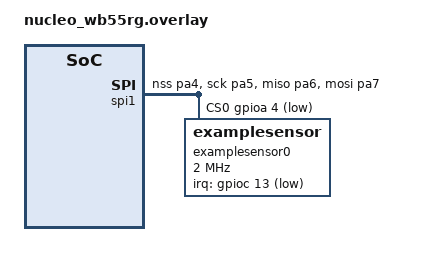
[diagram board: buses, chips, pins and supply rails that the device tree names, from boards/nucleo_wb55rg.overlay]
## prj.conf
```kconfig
# Copyright (c) 2021 Nordic Semiconductor ASA
# SPDX-License-Identifier: Apache-2.0
#
# This file contains selected Kconfig options for the application.


CONFIG_BT=y
CONFIG_BT_PERIPHERAL=y
CONFIG_BT_SMP=y
CONFIG_TINYCRYPT=y
CONFIG_BT_DEVICE_NAME="TIABT"
CONFIG_BT_DIS=y
CONFIG_BT_DIS_PNP=n
CONFIG_BT_BAS=y
CONFIG_BT_DEVICE_APPEARANCE=0
CONFIG_BT_DEBUG_LOG=y
CONFIG_BT_GATT_CLIENT=y


#CONFIG_BT_MESH_ADV_STACK_SIZE=2048
#CONFIG_BT_RX_STACK_SIZE=4096
#CONFIG_MAIN_STACK_SIZE=2048


#CONFIG_SENSOR=y
#CONFIG_SPI_INIT_PRIORITY=70
#CONFIG_ADC_INIT_PRIORITY=71
#CONFIG_SPI=y
#CONFIG_ADC=y



#CONFIG_PRINTK=y
CONFIG_LOG=y
CONFIG_LOG_BUFFER_SIZE=2048

# This causes ***** MPU FAULT ***** when bluetooth is connecting
#CONFIG_LOG_MODE_IMMEDIATE=y 
```

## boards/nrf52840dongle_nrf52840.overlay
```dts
/*
 * Copyright (c) 2021 Nordic Semiconductor ASA
 * SPDX-License-Identifier: Apache-2.0
 */

/* This devicetree overlay file will be automatically picked by the Zephyr
 * build system when building the sample for the nucleo_f302r8 board. It shows
 * how the example-application can be built on sample boards already provided
 * by Zephyr.
 */

/ {
	examplesensor0: examplesensor_0 {
		compatible = "zephyr,examplesensor";
		label = "EXAMPLESENSOR_0";
		input-gpios = <&gpio0 13 (GPIO_PULL_UP | GPIO_ACTIVE_LOW)>;
	};
};

&gpio0 {
	status = "okay";
};
```

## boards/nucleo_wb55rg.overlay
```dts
/*
 * Copyright (c) 2021 Nordic Semiconductor ASA
 * SPDX-License-Identifier: Apache-2.0
 */

/* This devicetree overlay file will be automatically picked by the Zephyr
 * build system when building the sample for the nucleo_f302r8 board. It shows
 * how the example-application can be built on sample boards already provided
 * by Zephyr.
 */

/ {

};

&gpioc {
	status = "okay";
};

// https://os.mbed.com/platforms/ST-Nucleo-WB55RG/
// https://github.com/zephyrproject-rtos/zephyr/blob/main/boards/arm/nucleo_wb55rg/nucleo_wb55rg.dts
// ADC pin CSK ---orange--- (PA5,D13,20,SCK)
// ADC pin SDO ---yellow--- (PA6,D12,21,MISO)
// ADC pin SDI ---green---- (PA7,D11,22,MOSI)
// ADC pin CS  ---white---- (PA4,D10)
// ADC pin INT ---blue----- (PC13,D7)
// https://github.com/zephyrproject-rtos/zephyr-testing/blob/0f09360456592ecf0d0413352dc1ef5d23cd0364/include/drivers/spi.h#L252
// https://github.com/zephyrproject-rtos/zephyr-testing/blob/2fc0ace3c2462cb33dc8c25e33c629cedba08ebb/boards/arm/rm1xx_dvk/rm1xx_dvk.dts#L60
// https://github.com/zephyrproject-rtos/zephyr/blob/ee91cd5665b1590c9a8a9a992bb19d81feeeb461/boards/arm/bt610/bt610.dts#L268


&spi1 {
    status = "okay";
    pinctrl-0 = <&spi1_nss_pa4 &spi1_sck_pa5 &spi1_miso_pa6 &spi1_mosi_pa7>;
    cs-gpios = <&gpioa 4 GPIO_ACTIVE_LOW>;
	examplesensor0: examplesensor@0 {
		compatible = "zephyr,examplesensor";
		spi-max-frequency = <2000000>;
        irq-gpios = <&gpioc 13 GPIO_ACTIVE_LOW>;
		reg = <0>;
	};
};
```

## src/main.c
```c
/*
west build -b nucleo_wb55rg

Booting Zephyr OS build zephyr-v3.1.0-3437-gd9ed09357ee0
Booting Zephyr OS build zephyr-v3.1.0-4550-g2cbd287e0c21 (tried on laptop, bluetooth problems)
Booting Zephyr OS build v3.2.0-rc1-57-gb27c5d73ef09







*** Booting Zephyr OS build v3.2.0-rc1-57-gb27c5d73ef09  ***                              
Bluetooth initialized                                                                       
Advertising successfully started                                                           
[00:00:00.326,000] [0m<inf> main: Zephyr Example Application 1.0.0[0m                     
Connected                                                                               
[00:05:08.462,000] [1;33m<wrn> hci_ipm: Invalid peer addr FF:FF:FF:FF:FF:FF (random)[0m    
[00:05:08.464,000] [1;33m<wrn> bt_hci_core: opcode 0x2016 status 0x3a[0m                  
[00:05:08.464,000] [1;31m<err> bt_hci_core: Failed read remote features (-5)[0m          
[00:05:08.464,000] [1;33m<wrn> bt_hci_core: opcode 0x2032 status 0x0c[0m                     
[00:05:08.464,000] [1;31m<err> bt_hci_core: Failed LE Set PHY (-5)[0m                           
[00:05:15.520,000] [0m<inf> bas: BAS Notifications enabled[0m



*** Booting Zephyr OS build v3.2.0-rc1-57-gb27c5d73ef09  ***
*** Booting Zephyr OS build v3.2.0-rc3-24-g8364715998c9  ***





*/

#include <zephyr/kernel.h>
#include <zephyr/drivers/sensor.h>
#include <zephyr/drivers/spi.h>
#include <stdint.h>

#include "app_version.h"
#include "egadc.h"
#include "bt.h"

#include <zephyr/logging/log.h>
LOG_MODULE_REGISTER(main, CONFIG_APP_LOG_LEVEL);
//struct spi_dt_spec bus = SPI_DT_SPEC_GET(DT_NODELABEL(mcp3204), SPI_WORD_SET(8) | SPI_MODE_GET(0), 1);


struct mcp356x_config c = 
{
	.bus = SPI_DT_SPEC_GET(DT_NODELABEL(examplesensor0), SPI_WORD_SET(8) | SPI_MODE_GET(0), 1),
	.irq = GPIO_DT_SPEC_GET(DT_NODELABEL(examplesensor0), irq_gpios)
};


// The ADC9 uses 2000mV voltage ref chip MCP1501
#define ADC9_VREF 2048
#define TIABT_VREF 3000

void main(void)
{
	LOG_INF("Zephyr Example Application %s", "" DT_NODE_PATH(DT_NODELABEL(examplesensor0)));

	if (!spi_is_ready(&c.bus))
	{
		LOG_ERR("SPI bus is not ready %i", 0);
		return;
	}
	
	
	c.gain = MCP356X_CFG_2_GAIN_X_033;
	c.vref = TIABT_VREF;
	egadc_init(&c);
	//mybt_init();

	//while (1){k_sleep(K_MSEC(5000));}

	while (1)
	{
		//printk("%08X\n", c.lastdata);
		
		
		printk("%8i\n", c.num_irq - c.num_drdy);
		printk("%8i %8i " MCP356X_PRINTF_HEADER "\n", c.num_irq, c.num_drdy);
		printk("avg               " MCP356X_PRINTF_PLUS "\n", MCP356X_ARGS(c.avg));
		printk("mv                " MCP356X_PRINTF_PLUS "\n", MCP356X_ARGS(c.mv));
		printk("n                 " MCP356X_PRINTF_PLUS "\n", MCP356X_ARGS(c.n));
		
		
		//mybt_progress();
		//bt_bas_set_battery_level(i++);

		//k_sem_give(&c.acq_sem);
		k_sleep(K_MSEC(5000));
	}
}
```

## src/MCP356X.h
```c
#pragma once
#include <stdint.h>

// https://github.com/MikroElektronika/mikrosdk_click_v2
// https://github.com/MikroElektronika/mikrosdk_click_v2/tree/master/clicks/adc9
// https://github.com/jspark311/MCP356x-Breakout/blob/6cc57254ad991eba59b2607941b86dc148f06eaf/Arduino/src/MCP356x.cpp






/*****************************************************************
6.2.1 COMMAND BYTE STRUCTURE
The COMMAND byte fully defines the command that
will be executed by the part. This byte is divided into
three parts: the device address bits (CMD[7:6]), the
command address bits (CMD[5:2]) and the
command-type bits (CMD[1:0]).
*****************************************************************/
#define MCP356X_COMMAND_BYTE(addr, cmd, type) (((addr)<<6) | ((cmd)<<2) | ((type)<<0))

/*****************************************************************
6.2.2 DEVICE ADDRESS BITS (CMD[7:6])
The SPI interface of the MCP3561/2/4 devices is
addressable, which means that multiple devices can
communicate on the same SPI bus with only one Chip
Select line for all devices. Each device communication
starts by a CS falling edge, followed by the clocking of
the device address (CMD[7:6]). Each device contains
an internal device address which the device can
respond to.
This address is coded on two bits, so four possible
addresses are available. Device address is hard-coded
within the device and should be determined when
ordering the device. The device address is part of the
device markings to avoid potential confusion (see
Sections 9.1 “Package Marking Information(1)”).
When the CMD[7:6] bits match the device address, the
communication will proceed and the part will execute
the commands defined in the control byte and its
subsequent data bytes.
When the CMD[7:6] bits do not correspond to the
address hard-coded in the device, the command is
ignored. In this case, the SDO output will become
high-impedance, which prevents bus contention errors
when multiple devices are connected on the same SPI
bus (see Figure 6-2). The user has to exit from this
communication through a CS rising edge to be able to
launch another command.
*****************************************************************/
#define MCP356X_DEVICE_ADR                   0x01 // CMD[7:6]

/*****************************************************************
6.2.4 COMMAND-TYPE BITS (CMD[1:0])
The last two bits of the COMMAND register byte define
the command type. These bits are an extension of the
typical read/write bits present in most SPI communica-
tion protocols. The two bits define four possible
command types: Incremental Write, Incremental Read,
Static Read and Fast command. Changing the com-
mand type within the same communication (while CS is
logic low) is not possible. The communication has to be
stopped (CS rising edge) and restarted (CS falling
edge) to change its command type.
*****************************************************************/
#define MCP356X_CMD_DONT_CARE                0x00
#define MCP356X_CMD_STAT_READ                0x01
#define MCP356X_CMD_INC_WRITE                0x02
#define MCP356X_CMD_INC_READ                 0x03

/*****************************************************************
8.0 INTERNAL REGISTERS
The MCP3561/2/4 devices have a total of 16 internal
registers made of volatile memory.
*****************************************************************/

/*
8.1 ADCDATA Register
The data can be
formatted in 24/32-bit modes depending on the DATA_FORMAT
*/
#define MCP356X_REG_ADC_DATA                 0x00 // 4/24/32 R
#define MCP356X_REG_CFG_0                    0x01 // 8       RW
#define MCP356X_REG_CFG_1                    0x02 // 8       RW
#define MCP356X_REG_CFG_2                    0x03 // 8       RW
#define MCP356X_REG_CFG_3                    0x04 // 8       RW
#define MCP356X_REG_IRQ                      0x05 // 8       RW
#define MCP356X_REG_MUX                      0x06 // 8       RW
#define MCP356X_REG_SCAN                     0x07 // 24      RW
#define MCP356X_REG_TIMER                    0x08 // 24      RW
#define MCP356X_REG_OFFSET_CAL               0x09 // 24      RW
#define MCP356X_REG_GAIN_CAL                 0x0A // 24      RW
#define MCP356X_RSV_REG_W_A                  0x0B // 24      RW
#define MCP356X_REG_C                        0x0C // 8       RW
#define MCP356X_REG_LOCK                     0x0D // 8       RW
#define MCP356X_RSV_REG                      0x0E // 16      RW
#define MCP356X_REG_CRC_CFG                  0x0F // 16      R

static char const * MCP356X_REG_tostring(int a)
{
	switch(a)
	{
	case MCP356X_REG_ADC_DATA    : return "MCP356X_REG_ADC_DATA    ";
	case MCP356X_REG_CFG_0       : return "MCP356X_REG_CFG_0       ";
	case MCP356X_REG_CFG_1       : return "MCP356X_REG_CFG_1       ";
	case MCP356X_REG_CFG_2       : return "MCP356X_REG_CFG_2       ";
	case MCP356X_REG_CFG_3       : return "MCP356X_REG_CFG_3       ";
	case MCP356X_REG_IRQ         : return "MCP356X_REG_IRQ         ";
	case MCP356X_REG_MUX         : return "MCP356X_REG_MUX         ";
	case MCP356X_REG_SCAN        : return "MCP356X_REG_SCAN        ";
	case MCP356X_REG_TIMER       : return "MCP356X_REG_TIMER       ";
	case MCP356X_REG_OFFSET_CAL  : return "MCP356X_REG_OFFSET_CAL  ";
	case MCP356X_REG_GAIN_CAL    : return "MCP356X_REG_GAIN_CAL    ";
	case MCP356X_RSV_REG_W_A     : return "MCP356X_RSV_REG_W_A     ";
	case MCP356X_REG_LOCK        : return "MCP356X_REG_LOCK        ";
	case MCP356X_RSV_REG         : return "MCP356X_RSV_REG         ";
	case MCP356X_REG_CRC_CFG     : return "MCP356X_REG_CRC_CFG     ";
	default:return "";
	}
}




/*****************************************************************
8.2 CONFIG0 Register
ADC Operating mode, Master Clock mode and Input Bias Current
Source mode
******************************************************************/
// Full Shutdown Mode Enable
#define MCP356X_CFG_0_VREF_SEL_0             0x00
#define MCP356X_CFG_0_VREF_SEL_1             0x40
#define MCP356X_CFG_0_VREF_SEL_2             0x80
#define MCP356X_CFG_0_VREF_SEL_3             0xC0
// Clock Selection
#define MCP356X_CFG_0_CLK_SEL_0              0x00
#define MCP356X_CFG_0_CLK_SEL_1              0x10
#define MCP356X_CFG_0_CLK_SEL_2              0x20
#define MCP356X_CFG_0_CLK_SEL_3              0x30
// Current Source/Sink Selection Bits for Sensor Bias (source on VIN+/sink on VIN-)
#define MCP356X_CFG_0_CS_SEL_0               0x00
#define MCP356X_CFG_0_CS_SEL_1               0x04
#define MCP356X_CFG_0_CS_SEL_2               0x08
#define MCP356X_CFG_0_CS_SEL_3               0x0C
// ADC Operating Mode Selection
#define MCP356X_CFG_0_MODE_SHD_DEF           0x00
#define MCP356X_CFG_0_MODE_SHD               0x01
#define MCP356X_CFG_0_MODE_STANDBY           0x02
#define MCP356X_CFG_0_MODE_CONV              0x03




/******************************************************************
8.3 CONFIG1 Register
Prescale and OSR settings
******************************************************************/
// Prescaler Value Selection for AMCLK
#define MCP356X_CFG_1_PRE_1                  0x00
#define MCP356X_CFG_1_PRE_2                  0x40
#define MCP356X_CFG_1_PRE_4                  0x80
#define MCP356X_CFG_1_PRE_8                  0xC0
// Oversampling Ratio for Delta-Sigma A/D Conversion
#define MCP356X_CFG_1_OSR_98304              0x3C
#define MCP356X_CFG_1_OSR_81920              0x38
#define MCP356X_CFG_1_OSR_49152              0x34
#define MCP356X_CFG_1_OSR_40960              0x30
#define MCP356X_CFG_1_OSR_24576              0x2C
#define MCP356X_CFG_1_OSR_20480              0x28
#define MCP356X_CFG_1_OSR_16384              0x24
#define MCP356X_CFG_1_OSR_8192               0x20
#define MCP356X_CFG_1_OSR_4096               0x1C
#define MCP356X_CFG_1_OSR_2048               0x18
#define MCP356X_CFG_1_OSR_1024               0x14
#define MCP356X_CFG_1_OSR_512                0x10
#define MCP356X_CFG_1_OSR_256                0x0C
#define MCP356X_CFG_1_OSR_128                0x08
#define MCP356X_CFG_1_OSR_64                 0x04
#define MCP356X_CFG_1_OSR_32                 0x00
// RESERVED[1:0]: Should always be set to ‘00’
#define MCP356X_CFG_1_DITHER_MAX             0x03
#define MCP356X_CFG_1_DITHER_MED             0x02
#define MCP356X_CFG_1_DITHER_MIN             0x01
#define MCP356X_CFG_1_DITHER_DEF             0x00





/******************************************************************
8.4 CONFIG2 Register
ADC boost and gain settings, auto-zeroing settings for analog
multiplexer, voltage reference and ADC
******************************************************************/
// ADC Bias Current Selection
#define MCP356X_CFG_2_BOOST_X_2              0xC0
#define MCP356X_CFG_2_BOOST_X_1              0x80
#define MCP356X_CFG_2_BOOST_X_066            0x40
#define MCP356X_CFG_2_BOOST_X_05             0x00
/*
5.3.1
ANALOG GAIN
The gain settings from 0.33x to 16x are done in the
analog domain. This analog gain is placed on each ADC
differential input. Each doubling of the gain improves the
thermal noise due to sampling by approximately 3 dB,
which means the lowest noise configuration is obtained
when using the highest analog gain. The SNR, however,
is degraded, since doubling the gain factor reduces the
maximum allowable input signal amplitude by
approximately 6 dB.
If the gain is set to 0.33x, the differential input range
theoretically becomes ±3 * VREF. However, the device
does not support input voltages outside of the power
supply voltage range. If large reference voltages are
used with this gain, the input voltage range will be
clipped between AGND and AVDD, and therefore, the
output code span will be limited. This gain is useful
when the reference voltage is small and when the
input signal voltage is large.
The analog gain stage can be used to amplify very low
signals, but the differential input range of the
Delta-Sigma modulator must not be exceeded.
*/
#define MCP356X_CFG_2_GAIN_X_64              0x38
#define MCP356X_CFG_2_GAIN_X_32              0x30
#define MCP356X_CFG_2_GAIN_X_16              0x28
#define MCP356X_CFG_2_GAIN_X_8               0x20
#define MCP356X_CFG_2_GAIN_X_4               0x18
#define MCP356X_CFG_2_GAIN_X_2               0x10
#define MCP356X_CFG_2_GAIN_X_1               0x08
#define MCP356X_CFG_2_GAIN_X_033             0x00
// Auto-Zeroing MUX Setting
#define MCP356X_CFG_2_AZ_MUX_EN              0x04
#define MCP356X_CFG_2_AZ_MUX_DIS             0x00
#define MCP356X_CFG_2_AZ_VREF_EN             0x02
#define MCP356X_CFG_2_AZ_VREF_DIS            0x00
// RESERVED[1:0]: Should always be equal to ‘11’
#define MCP356X_CFG_2_AZ_FREQ_HIGH           0x01
#define MCP356X_CFG_2_AZ_FREQ_LOW            0x00




/******************************************************************
8.5 CONFIG3 Register
Conversion mode, data and CRC format settings; enable for CRC on
communications, enable for digital offset and gain error calibrations
*******************************************************************/
// Conversion Mode Selection
#define MCP356X_CFG_3_CONV_MODE_CONT         0xC0
#define MCP356X_CFG_3_CONV_MODE_STANDBY      0x80
#define MCP356X_CFG_3_CONV_MODE_SHD          0x40
#define MCP356X_CFG_3_CONV_MODE_SHD0         0x00

// ADC Output Data Format Selection

// 32-bit (25-bit right justified data + Channel ID): CHID[3:0] + SGN extension (4 bits) + 24-bit ADC data. 
// It allows overrange with the SGN extension.
#define MCP356X_CFG_3_DATA_FORMAT_CH_ADC     0x30
// 32-bit (25-bit right justified data): SGN extension (8-bit) + 24-bit ADC data. It allows overrange with the SGN extension.
#define MCP356X_CFG_3_DATA_FORMAT_SIGN_ADC   0x20
// 32-bit (24-bit left justified data): 24-bit ADC data + 0x00 (8-bit). It does not allow overrange (ADC code locked to 0xFFFFFF or 0x800000).
#define MCP356X_CFG_3_DATA_FORMAT_LEFT_JUST  0x10
//24-bit (default ADC coding): 24-bit ADC data. It does not allow overrange (ADC code locked to 0xFFFFFF or 0x800000).
#define MCP356X_CFG_3_DATA_FORMAT_DEF        0x00

// CRC Checksum Format Selection on Read Communications
#define MCP356X_CFG_3_CRC_FORMAT_32          0x08
#define MCP356X_CFG_3_CRC_FORMAT_16          0x00
// CRC Checksum Selection on Read Communications (it does not affect CRCCFG calculations)
#define MCP356X_CFG_3_CRC_COM_EN             0x04
#define MCP356X_CFG_3_CRC_COM_DIS            0x00
// Enable Digital Offset Calibration
#define MCP356X_CFG_3_CRC_OFF_CAL_EN         0x02
#define MCP356X_CFG_3_CRC_OFF_CAL_DIS        0x00
// Enable Digital Gain Calibration
#define MCP356X_CFG_3_CRC_GAIN_CAL_EN        0x01
#define MCP356X_CFG_3_CRC_GAIN_CAL_DIS       0x00



/*******************************************************************
8.6 IRQ Register
IRQ Status bits and IRQ mode settings; enable for Fast commands and
for conversion start pulse
*******************************************************************/
#define MCP356X_IRQ_MODE_MDAT                0x08
#define MCP356X_IRQ_MODE_IRQ                 0x00
#define MCP356X_IRQ_MODE_LOGIC_HIGH          0x04
#define MCP356X_IRQ_MODE_HIGH_Z              0x00
#define MCP356X_IRQ_FASTCMD_EN               0x02
#define MCP356X_IRQ_FASTCMD_DIS              0x00
#define MCP356X_IRQ_STP_EN                   0x01
#define MCP356X_IRQ_STP_DIS                  0x00





/*******************************************************************
8.7 MULTIPLEXER (MUX) REGISTER
Analog multiplexer input selection (MUX mode only)
*******************************************************************/
// Bit 7-4 MUX_VIN+ Input Selection
#define MCP356X_MUX_VIN_POS_NO_IN            0xF0 // 1111 0000 Internal VCM
#define MCP356X_MUX_VIN_POS_VCM              0xE0 // 1110 0000 Internal Temperature Sensor Diode M (Temp Diode M)(1)
#define MCP356X_MUX_VIN_POS_TEMP             0xD0 // 1101 0000 Internal Temperature Sensor Diode P (Temp Diode P)(1)
#define MCP356X_MUX_VIN_POS_VREF_EXT_MINUS   0xC0 // 1100 0000
#define MCP356X_MUX_VIN_POS_VREF_EXT_PLUS    0xB0 // 1011 0000
#define MCP356X_MUX_VIN_POS_VREF_INT         0xA0 // 1010 0000 Reserved (do not use)
#define MCP356X_MUX_VIN_POS_AVDD             0x90 // 1001 0000
#define MCP356X_MUX_VIN_POS_AGND             0x80 // 1000 0000
#define MCP356X_MUX_VIN_POS_CH7              0x70 // 0111 0000
#define MCP356X_MUX_VIN_POS_CH6              0x60 // 0110 0000
#define MCP356X_MUX_VIN_POS_CH5              0x50 // 0101 0000
#define MCP356X_MUX_VIN_POS_CH4              0x40 // 0100 0000
#define MCP356X_MUX_VIN_POS_CH3              0x30 // 0011 0000
#define MCP356X_MUX_VIN_POS_CH2              0x20 // 0010 0000
#define MCP356X_MUX_VIN_POS_CH1              0x10 // 0001 0000
#define MCP356X_MUX_VIN_POS_CH0              0x00 // 0000 0000
// Bit 3-0 MUX_VIN- Input Selection
#define MCP356X_MUX_VIN_NEG_NO_IN            0x0F // 0000 1111
#define MCP356X_MUX_VIN_NEG_VCM              0x0E // 0000 1110 Internal Temperature Sensor Diode M (Temp Diode M)(1)
#define MCP356X_MUX_VIN_NEG_TEMP             0x0D // 0000 1101 Internal Temperature Sensor Diode P (Temp Diode P)(1)
#define MCP356X_MUX_VIN_NEG_VREF_EXT_MINUS   0x0C // 0000 1100
#define MCP356X_MUX_VIN_NEG_VREF_EXT_PLUS    0x0B // 0000 1011
#define MCP356X_MUX_VIN_NEG_VREF_INT         0x0A // 0000 1010 Reserved (do not use)
#define MCP356X_MUX_VIN_NEG_AVDD             0x09 // 0000 1001
#define MCP356X_MUX_VIN_NEG_AGND             0x08 // 0000 1000
#define MCP356X_MUX_VIN_NEG_CH7              0x07 // 0000 0111
#define MCP356X_MUX_VIN_NEG_CH6              0x06 // 0000 0110
#define MCP356X_MUX_VIN_NEG_CH5              0x05 // 0000 0101
#define MCP356X_MUX_VIN_NEG_CH4              0x04 // 0000 0100
#define MCP356X_MUX_VIN_NEG_CH3              0x03 // 0000 0011
#define MCP356X_MUX_VIN_NEG_CH2              0x02 // 0000 0010
#define MCP356X_MUX_VIN_NEG_CH1              0x01 // 0000 0001
#define MCP356X_MUX_VIN_NEG_CH0              0x00 // 0000 0000




/* 8.8 SCAN Register
Bit 23-21 DLY[2:0]: Delay Time (TDLY_SCAN) Between Each Conversion During a Scan Cycle

When in SCAN mode, the MUX register (address: 0x6)
becomes a Don’t Care register.

When SCAN[15:0] = 0x0000, SCAN mode is dis-
abled and the part returns to MUX mode, where the
input channel selection is defined by the MUX[7:0] bits.
*/
#define MCP356X_SCAN_DLY_DM_CLK_X_512        0x00E00000
#define MCP356X_SCAN_DLY_DM_CLK_X_256        0x00C00000
#define MCP356X_SCAN_DLY_DM_CLK_X_128        0x00A00000
#define MCP356X_SCAN_DLY_DM_CLK_X_64         0x00800000
#define MCP356X_SCAN_DLY_DM_CLK_X_32         0x00600000
#define MCP356X_SCAN_DLY_DM_CLK_X_16         0x00400000
#define MCP356X_SCAN_DLY_DM_CLK_X_8          0x00200000
#define MCP356X_SCAN_DLY_NO_DELAY            0x00000000
//Bit 19-16 Unimplemented: Read as ‘0’
#define MCP356X_SCAN_PSAV_VREF_OFF           0x00100000
#define MCP356X_SCAN_PSAV_VREF_ON            0x00000000
// Bit 15-0 Scan Channel Selection (see Table 5-14 for a complete description)
#define MCP356X_SCAN_OFFSET                  0x00008000
#define MCP356X_SCAN_VREF                    0x00004000
#define MCP356X_SCAN_AVDD                    0x00002000
#define MCP356X_SCAN_TEMP                    0x00001000
#define MCP356X_SCAN_DIFF_D                  0x00000800
#define MCP356X_SCAN_DIFF_C                  0x00000400
#define MCP356X_SCAN_DIFF_B                  0x00000200
#define MCP356X_SCAN_DIFF_A                  0x00000100
#define MCP356X_SCAN_CH7                     0x00000080
#define MCP356X_SCAN_CH6                     0x00000040
#define MCP356X_SCAN_CH5                     0x00000020
#define MCP356X_SCAN_CH4                     0x00000010
#define MCP356X_SCAN_CH3                     0x00000008
#define MCP356X_SCAN_CH2                     0x00000004
#define MCP356X_SCAN_CH1                     0x00000002
#define MCP356X_SCAN_CH0                     0x00000001

#define MCP356X_CHANNEL_COUNT 16
#define MCP356X_CH_OFFSET   15
#define MCP356X_CH_VREF     14
#define MCP356X_CH_AVDD     13
#define MCP356X_CH_TEMP     12
#define MCP356X_CH_DIFF_D   11
#define MCP356X_CH_DIFF_C   10
#define MCP356X_CH_DIFF_B   9
#define MCP356X_CH_DIFF_A   8
#define MCP356X_CH_CH7      7
#define MCP356X_CH_CH6      6
#define MCP356X_CH_CH5      5
#define MCP356X_CH_CH4      4
#define MCP356X_CH_CH3      3
#define MCP356X_CH_CH2      2
#define MCP356X_CH_CH1      1
#define MCP356X_CH_CH0      0



// 8.9 TIMER Register
#define MCP356X_TIMER_DLY_DMCLK_X_16777215   0x00FFFFFF
#define MCP356X_TIMER_DLY_DMCLK_X_8388607    0x007FFFFF
#define MCP356X_TIMER_DLY_DMCLK_X_4194303    0x003FFFFF
#define MCP356X_TIMER_DLY_DMCLK_X_2097151    0x001FFFFF
#define MCP356X_TIMER_DLY_DMCLK_X_1048575    0x000FFFFF
#define MCP356X_TIMER_DLY_DMCLK_X_524287     0x0007FFFF
#define MCP356X_TIMER_DLY_DMCLK_X_262143     0x0003FFFF
#define MCP356X_TIMER_DLY_DMCLK_X_131071     0x0001FFFF
#define MCP356X_TIMER_DLY_DMCLK_X_65535      0x0000FFFF
#define MCP356X_TIMER_DLY_DMCLK_X_32767      0x00007FFF
#define MCP356X_TIMER_DLY_DMCLK_X_16383      0x00003FFF
#define MCP356X_TIMER_DLY_DMCLK_X_8191       0x00001FFF
#define MCP356X_TIMER_DLY_DMCLK_X_4095       0x00000FFF
#define MCP356X_TIMER_DLY_DMCLK_X_2047       0x000007FF
#define MCP356X_TIMER_DLY_DMCLK_X_1023       0x000003FF
#define MCP356X_TIMER_DLY_DMCLK_X_511        0x000001FF
#define MCP356X_TIMER_DLY_DMCLK_X_255        0x000000FF
#define MCP356X_TIMER_DLY_DMCLK_X_127        0x0000007F
#define MCP356X_TIMER_DLY_DMCLK_X_63         0x0000003F
#define MCP356X_TIMER_DLY_DMCLK_X_31         0x0000001F
#define MCP356X_TIMER_DLY_DMCLK_X_15         0x0000000F
#define MCP356X_TIMER_DLY_DMCLK_X_2          0x00000002
#define MCP356X_TIMER_DLY_DMCLK_X_1          0x00000001
#define MCP356X_TIMER_DLY_NO_DELAY           0x00000000

#define MCP356X_FAST_CMD_ADC_CONV_START      0x28
#define MCP356X_FAST_CMD_ADC_STANDBY_MODE    0x2C
#define MCP356X_FAST_CMD_ADC_SHUTDOWN_MODE   0x30
#define MCP356X_FAST_CMD_FULL_SHUTDOWN_MODE  0x34
#define MCP356X_FAST_CMD_DEV_FULL_RESET      0x38

#define MCP356X_CALC_COEF                    8388608


#define MCP356X_PRINTF_HEADER "OFFST VREF  AVDD  TEMP  DIFFD DIFFC DIFFB DIFFA CH7   CH6   CH5   CH4   CH3   CH2   CH1   CH0"
#define MCP356X_PRINTF_PLUS   "%+05i %+05i %+05i %+05i %+05i %+05i %+05i %+05i %+05i %+05i %+05i %+05i %+05i %+05i %+05i %+05i"
#define MCP356X_PRINTF "%05i %05i %05i %05i %05i %05i %05i %05i %05i %05i %05i %05i %05i %05i %05i %05i"
#define MCP356X_ARGS(x) \
(x)[MCP356X_CH_OFFSET],  \
(x)[MCP356X_CH_VREF],  \
(x)[MCP356X_CH_AVDD],  \
(x)[MCP356X_CH_TEMP],  \
(x)[MCP356X_CH_DIFF_D],  \
(x)[MCP356X_CH_DIFF_C],  \
(x)[MCP356X_CH_DIFF_B],  \
(x)[MCP356X_CH_DIFF_A],  \
(x)[MCP356X_CH_CH7],  \
(x)[MCP356X_CH_CH6],  \
(x)[MCP356X_CH_CH5],  \
(x)[MCP356X_CH_CH4],  \
(x)[MCP356X_CH_CH3],  \
(x)[MCP356X_CH_CH2],  \
(x)[MCP356X_CH_CH1],  \
(x)[MCP356X_CH_CH0]

/*
111 = Gain is x64 (x16 analog, x4 digital)
110 = Gain is x32 (x16 analog, x2 digital)
101 = Gain is x16
100 = Gain is x8
011 = Gain is x4
010 = Gain is x2
001 = Gain is x1 (default)
000 = Gain is x1/3
*/

static int32_t MCP356X_raw_to_millivolt(int32_t raw, int32_t vref, int32_t gain)
{
	int32_t c = (MCP356X_CALC_COEF / vref);
	switch(gain)
	{
	case MCP356X_CFG_2_GAIN_X_64  : c *= 64; break;
	case MCP356X_CFG_2_GAIN_X_32  : c *= 32; break;
	case MCP356X_CFG_2_GAIN_X_16  : c *= 16; break;
	case MCP356X_CFG_2_GAIN_X_8   : c *= 8; break;
	case MCP356X_CFG_2_GAIN_X_4   : c *= 4; break;
	case MCP356X_CFG_2_GAIN_X_2   : c *= 2; break;
	case MCP356X_CFG_2_GAIN_X_1   : c *= 1; break;
	case MCP356X_CFG_2_GAIN_X_033 : c /= 3; break;
	}
	int32_t mv;
	mv = raw / c;
	return mv;
}


static void MCP356X_ADC_DATA_decode_11(uint8_t rx[5], int32_t * value, uint32_t * channel)
{
	/*
	In MUX mode, this 4-bit word
	is defaulted to ‘0000’ and does not vary with the
	MUX[7:0] selection. This format is useful for 32-bit
	MCU applications
	*/
	(*channel) = (rx[1] >> 4) & 0x01;

	uint8_t sign = rx[1] & 0x01;
	(*value) = (rx[2] << 16) | (rx[3] << 8) | (rx[4] << 0);
	if (sign != 0)
	{
		(*value) -= 16777215;
	}
}




static uint32_t MCP356X_get_len(uint8_t reg)
{
	switch(reg)
	{
	case MCP356X_REG_ADC_DATA:
		return 4; // 32 bit
	case MCP356X_REG_CFG_0:
	case MCP356X_REG_CFG_1:
	case MCP356X_REG_CFG_2:
	case MCP356X_REG_CFG_3:
	case MCP356X_REG_IRQ:
	case MCP356X_REG_MUX:
		return 1; // 8 bit
	case MCP356X_REG_SCAN:
	case MCP356X_REG_TIMER:
	case MCP356X_REG_OFFSET_CAL:
	case MCP356X_REG_GAIN_CAL:
	case MCP356X_RSV_REG_W_A:
		return 3; // 24 bit
	case MCP356X_REG_C:
	case MCP356X_REG_LOCK:
		return 1; // 8 bit
	case MCP356X_RSV_REG:
	case MCP356X_REG_CRC_CFG:
		return 2; // 16 bit
	default:
		return 0;
		break;
	}
}


static uint32_t MCP356X_get_value(uint8_t rx[5], uint8_t len)
{
	switch (len)
	{
	case 1: return (rx[1] << 0);
	case 2: return (rx[1] << 8) | (rx[2] << 0);
	case 3: return (rx[1] << 16) | (rx[2] << 8) | (rx[3] << 0);
	case 4: return (rx[1] << 24) | (rx[2] << 16) | (rx[3] << 8) | (rx[4] << 0);
	default: return 0;
	}
}


static void MCP356X_set_value(uint8_t tx[5], uint8_t len, uint32_t value)
{
	switch (len)
	{
	case 1:
		tx[1] = ( value >> 0 ) & 0xFF;
		break;
	case 2:
		tx[1] = ( value >> 8 ) & 0xFF;
		tx[2] = ( value >> 0 ) & 0xFF;
		break;
	case 3:
		tx[1] = ( value >> 16 ) & 0xFF;
		tx[2] = ( value >> 8 ) & 0xFF;
		tx[3] = ( value >> 0 ) & 0xFF;
		break;
	case 4:
		tx[1] = ( value >> 24 ) & 0xFF;
		tx[2] = ( value >> 16 ) & 0xFF;
		tx[3] = ( value >> 8 ) & 0xFF;
		tx[4] = ( value >> 0 ) & 0xFF;
		break;
	default:
		tx[1] = 0;
		tx[2] = 0;
		tx[3] = 0;
		tx[4] = 0;
		break;
	}
}
```

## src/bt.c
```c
#include <stdbool.h>
#include <stddef.h>
#include <string.h>
#include <errno.h>

#include <zephyr/types.h>
#include <zephyr/sys/printk.h>
#include <zephyr/sys/byteorder.h>
#include <zephyr/kernel.h>

#include <zephyr/bluetooth/bluetooth.h>
#include <zephyr/bluetooth/hci.h>
#include <zephyr/bluetooth/conn.h>
#include <zephyr/bluetooth/uuid.h>
#include <zephyr/bluetooth/gatt.h>
#include <zephyr/bluetooth/services/bas.h>

#include <zephyr/logging/log.h>
LOG_MODULE_REGISTER(adc_svc, CONFIG_APP_LOG_LEVEL);


/*
GATT Characteristic and Object Type | 0x2AE1 | Average Voltage
*/
#define BT_UUID_VOLTAGE_VAL 0x2B18
#define BT_UUID_VOLTAGE BT_UUID_DECLARE_16(BT_UUID_VOLTAGE_VAL)

static ssize_t read_u16(struct bt_conn *conn, const struct bt_gatt_attr *attr,void *buf, uint16_t len, uint16_t offset)
{
	const uint16_t *u16 = attr->user_data;
	uint16_t value = sys_cpu_to_le16(*u16);
	return bt_gatt_attr_read(conn, attr, buf, len, offset, &value,sizeof(value));
}

static struct bt_uuid_128 service1_uuid = BT_UUID_INIT_128(BT_UUID_128_ENCODE(0x0000fe40, 0xcc7a, 0x482a, 0x984a, 0x7f2ed5b3e58f));



struct gatt_values
{
	uint16_t voltage[2];
	const struct bt_gatt_attr *attr[10];
};

static struct gatt_values values;


static void ccc_cfg_changed(const struct bt_gatt_attr *attr, uint16_t value);

BT_GATT_SERVICE_DEFINE(service1,
	BT_GATT_PRIMARY_SERVICE(&service1_uuid),
	BT_GATT_CHARACTERISTIC(BT_UUID_TEMPERATURE, BT_GATT_CHRC_READ | BT_GATT_CHRC_NOTIFY, BT_GATT_PERM_READ, read_u16, NULL, &values.voltage[0]),
	BT_GATT_CCC(ccc_cfg_changed, BT_GATT_PERM_READ | BT_GATT_PERM_WRITE),
	BT_GATT_CHARACTERISTIC(BT_UUID_TEMPERATURE, BT_GATT_CHRC_READ | BT_GATT_CHRC_NOTIFY, BT_GATT_PERM_READ, read_u16, NULL, &values.voltage[1]),
	BT_GATT_CCC(ccc_cfg_changed, BT_GATT_PERM_READ | BT_GATT_PERM_WRITE),
);

static void ccc_cfg_changed(const struct bt_gatt_attr *attr, uint16_t value)
{
	uint16_t * v = service1.attrs[0].user_data;
	LOG_INF("ccc_cfg_changed %i", (int)(*v));
	if (attr->user_data == &values.voltage[0])
	{
		LOG_INF("ccc_cfg_changed 0");
	}
	else if (attr->user_data == &values.voltage[0])
	{
		LOG_INF("ccc_cfg_changed 1");
	}
}


static void connected(struct bt_conn *conn, uint8_t err)
{
	if (err) {
		printk("Connection failed (err 0x%02x)\n", err);
	} else {
		printk("Connected\n");
	}
	
}

static void disconnected(struct bt_conn *conn, uint8_t reason)
{
	printk("Disconnected (reason 0x%02x)\n", reason);
}

BT_CONN_CB_DEFINE(conn_callbacks) = {
	.connected = connected,
	.disconnected = disconnected,
};



static const struct bt_data ad[] = {
	BT_DATA_BYTES(BT_DATA_FLAGS, (BT_LE_AD_GENERAL | BT_LE_AD_NO_BREDR))
};



static void bt_ready(int err)
{
	if (err) {
		LOG_ERR("Bluetooth init failed (err %d)", err);
		return;
	}
	LOG_INF("Bluetooth initialized");
	/* Start advertising */
	err = bt_le_adv_start(BT_LE_ADV_CONN_NAME, ad, ARRAY_SIZE(ad), NULL, 0);
	if (err) {
		LOG_ERR("Advertising failed to start (err %d)", err);
		return;
	}

	LOG_INF("Configuration mode: waiting connections...");
}


static void bas_notify(void)
{
	uint8_t battery_level = bt_bas_get_battery_level();
	battery_level--;
	if (!battery_level) {
		battery_level = 100U;
	}
	bt_bas_set_battery_level(battery_level);
}



void mybt_init(void)
{
	int err;
	err = bt_enable(bt_ready);
	if (err) {
		printk("Bluetooth init failed (err %d)\n", err);
		return;
	}
}



void mybt_progress(void)
{
    bas_notify();
	values.voltage[0] += 1;
	values.voltage[1] += 1;

	
	//bt_gatt_notify(NULL, attr, &value, sizeof(value));
}
```

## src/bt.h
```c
#include <stdbool.h>
#include <zephyr/types.h>
#include <stddef.h>
#include <string.h>
#include <errno.h>
#include <sys/printk.h>
#include <sys/byteorder.h>
#include <zephyr.h>

#include <bluetooth/bluetooth.h>
#include <bluetooth/hci.h>
#include <bluetooth/conn.h>
#include <bluetooth/uuid.h>
#include <bluetooth/gatt.h>
#include <bluetooth/services/bas.h>

#define SENSOR_1_NAME				"Temperature Sensor 1"
#define SENSOR_2_NAME				"Temperature Sensor 2"
#define SENSOR_3_NAME				"Humidity Sensor"

/* Sensor Internal Update Interval [seconds] */
#define SENSOR_1_UPDATE_IVAL			5
#define SENSOR_2_UPDATE_IVAL			12
#define SENSOR_3_UPDATE_IVAL			60

/* ESS error definitions */
#define ESS_ERR_WRITE_REJECT			0x80
#define ESS_ERR_COND_NOT_SUPP			0x81

/* ESS Trigger Setting conditions */
#define ESS_TRIGGER_INACTIVE			0x00
#define ESS_FIXED_TIME_INTERVAL			0x01
#define ESS_NO_LESS_THAN_SPECIFIED_TIME		0x02
#define ESS_VALUE_CHANGED			0x03
#define ESS_LESS_THAN_REF_VALUE			0x04
#define ESS_LESS_OR_EQUAL_TO_REF_VALUE		0x05
#define ESS_GREATER_THAN_REF_VALUE		0x06
#define ESS_GREATER_OR_EQUAL_TO_REF_VALUE	0x07
#define ESS_EQUAL_TO_REF_VALUE			0x08
#define ESS_NOT_EQUAL_TO_REF_VALUE		0x09

static ssize_t read_u16(struct bt_conn *conn, const struct bt_gatt_attr *attr,
			void *buf, uint16_t len, uint16_t offset)
{
	const uint16_t *u16 = attr->user_data;
	uint16_t value = sys_cpu_to_le16(*u16);

	return bt_gatt_attr_read(conn, attr, buf, len, offset, &value,
				 sizeof(value));
}

/* Environmental Sensing Service Declaration */

struct es_measurement {
	uint16_t flags; /* Reserved for Future Use */
	uint8_t sampling_func;
	uint32_t meas_period;
	uint32_t update_interval;
	uint8_t application;
	uint8_t meas_uncertainty;
};

struct temperature_sensor {
	int16_t temp_value;

	/* Valid Range */
	int16_t lower_limit;
	int16_t upper_limit;

	/* ES trigger setting - Value Notification condition */
	uint8_t condition;
	union {
		uint32_t seconds;
		int16_t ref_val; /* Reference temperature */
	};

	struct es_measurement meas;
};

struct humidity_sensor {
	int16_t humid_value;

	struct es_measurement meas;
};

static bool simulate_temp;
static struct temperature_sensor sensor_1 = {
		.temp_value = 1200,
		.lower_limit = -10000,
		.upper_limit = 10000,
		.condition = ESS_VALUE_CHANGED,
		.meas.sampling_func = 0x00,
		.meas.meas_period = 0x01,
		.meas.update_interval = SENSOR_1_UPDATE_IVAL,
		.meas.application = 0x1c,
		.meas.meas_uncertainty = 0x04,
};

static struct temperature_sensor sensor_2 = {
		.temp_value = 1800,
		.lower_limit = -1000,
		.upper_limit = 5000,
		.condition = ESS_VALUE_CHANGED,
		.meas.sampling_func = 0x00,
		.meas.meas_period = 0x01,
		.meas.update_interval = SENSOR_2_UPDATE_IVAL,
		.meas.application = 0x1b,
		.meas.meas_uncertainty = 0x04,
};

static struct humidity_sensor sensor_3 = {
		.humid_value = 6233,
		.meas.sampling_func = 0x02,
		.meas.meas_period = 0x0e10,
		.meas.update_interval = SENSOR_3_UPDATE_IVAL,
		.meas.application = 0x1c,
		.meas.meas_uncertainty = 0x01,
};

static void temp_ccc_cfg_changed(const struct bt_gatt_attr *attr,
				 uint16_t value)
{
	simulate_temp = value == BT_GATT_CCC_NOTIFY;
}

struct read_es_measurement_rp {
	uint16_t flags; /* Reserved for Future Use */
	uint8_t sampling_function;
	uint8_t measurement_period[3];
	uint8_t update_interval[3];
	uint8_t application;
	uint8_t measurement_uncertainty;
} __packed;

static ssize_t read_es_measurement(struct bt_conn *conn,
				   const struct bt_gatt_attr *attr, void *buf,
				   uint16_t len, uint16_t offset)
{
	const struct es_measurement *value = attr->user_data;
	struct read_es_measurement_rp rsp;

	rsp.flags = sys_cpu_to_le16(value->flags);
	rsp.sampling_function = value->sampling_func;
	sys_put_le24(value->meas_period, rsp.measurement_period);
	sys_put_le24(value->update_interval, rsp.update_interval);
	rsp.application = value->application;
	rsp.measurement_uncertainty = value->meas_uncertainty;

	return bt_gatt_attr_read(conn, attr, buf, len, offset, &rsp,
				 sizeof(rsp));
}

static ssize_t read_temp_valid_range(struct bt_conn *conn,
				     const struct bt_gatt_attr *attr, void *buf,
				     uint16_t len, uint16_t offset)
{
	const struct temperature_sensor *sensor = attr->user_data;
	uint16_t tmp[] = {sys_cpu_to_le16(sensor->lower_limit),
			  sys_cpu_to_le16(sensor->upper_limit)};

	return bt_gatt_attr_read(conn, attr, buf, len, offset, tmp,
				 sizeof(tmp));
}

struct es_trigger_setting_seconds {
	uint8_t condition;
	uint8_t sec[3];
} __packed;

struct es_trigger_setting_reference {
	uint8_t condition;
	int16_t ref_val;
} __packed;

static ssize_t read_temp_trigger_setting(struct bt_conn *conn,
					 const struct bt_gatt_attr *attr,
					 void *buf, uint16_t len,
					 uint16_t offset)
{
	const struct temperature_sensor *sensor = attr->user_data;

	switch (sensor->condition) {
	/* Operand N/A */
	case ESS_TRIGGER_INACTIVE:
		__fallthrough;
	case ESS_VALUE_CHANGED:
		return bt_gatt_attr_read(conn, attr, buf, len, offset,
					 &sensor->condition,
					 sizeof(sensor->condition));
	/* Seconds */
	case ESS_FIXED_TIME_INTERVAL:
		__fallthrough;
	case ESS_NO_LESS_THAN_SPECIFIED_TIME: {
			struct es_trigger_setting_seconds rp;

			rp.condition = sensor->condition;
			sys_put_le24(sensor->seconds, rp.sec);

			return bt_gatt_attr_read(conn, attr, buf, len, offset,
						 &rp, sizeof(rp));
		}
	/* Reference temperature */
	default: {
			struct es_trigger_setting_reference rp;

			rp.condition = sensor->condition;
			rp.ref_val = sys_cpu_to_le16(sensor->ref_val);

			return bt_gatt_attr_read(conn, attr, buf, len, offset,
						 &rp, sizeof(rp));
		}
	}
}

static bool check_condition(uint8_t condition, int16_t old_val, int16_t new_val,
			    int16_t ref_val)
{
	switch (condition) {
	case ESS_TRIGGER_INACTIVE:
		return false;
	case ESS_FIXED_TIME_INTERVAL:
	case ESS_NO_LESS_THAN_SPECIFIED_TIME:
		/* TODO: Check time requirements */
		return false;
	case ESS_VALUE_CHANGED:
		return new_val != old_val;
	case ESS_LESS_THAN_REF_VALUE:
		return new_val < ref_val;
	case ESS_LESS_OR_EQUAL_TO_REF_VALUE:
		return new_val <= ref_val;
	case ESS_GREATER_THAN_REF_VALUE:
		return new_val > ref_val;
	case ESS_GREATER_OR_EQUAL_TO_REF_VALUE:
		return new_val >= ref_val;
	case ESS_EQUAL_TO_REF_VALUE:
		return new_val == ref_val;
	case ESS_NOT_EQUAL_TO_REF_VALUE:
		return new_val != ref_val;
	default:
		return false;
	}
}

static void update_temperature(struct bt_conn *conn,
			       const struct bt_gatt_attr *chrc, int16_t value,
			       struct temperature_sensor *sensor)
{
	bool notify = check_condition(sensor->condition,
				      sensor->temp_value, value,
				      sensor->ref_val);

	/* Update temperature value */
	sensor->temp_value = value;

	/* Trigger notification if conditions are met */
	if (notify) {
		value = sys_cpu_to_le16(sensor->temp_value);

		bt_gatt_notify(conn, chrc, &value, sizeof(value));
	}
}

BT_GATT_SERVICE_DEFINE(ess_svc,
	BT_GATT_PRIMARY_SERVICE(BT_UUID_ESS),

	/* Temperature Sensor 1 */
	BT_GATT_CHARACTERISTIC(BT_UUID_TEMPERATURE,
			       BT_GATT_CHRC_READ | BT_GATT_CHRC_NOTIFY,
			       BT_GATT_PERM_READ,
			       read_u16, NULL, &sensor_1.temp_value),
	BT_GATT_DESCRIPTOR(BT_UUID_ES_MEASUREMENT, BT_GATT_PERM_READ,
			   read_es_measurement, NULL, &sensor_1.meas),
	BT_GATT_CUD(SENSOR_1_NAME, BT_GATT_PERM_READ),
	BT_GATT_DESCRIPTOR(BT_UUID_VALID_RANGE, BT_GATT_PERM_READ,
			   read_temp_valid_range, NULL, &sensor_1),
	BT_GATT_DESCRIPTOR(BT_UUID_ES_TRIGGER_SETTING,
			   BT_GATT_PERM_READ, read_temp_trigger_setting,
			   NULL, &sensor_1),
	BT_GATT_CCC(temp_ccc_cfg_changed,
		    BT_GATT_PERM_READ | BT_GATT_PERM_WRITE),

	/* Temperature Sensor 2 */
	BT_GATT_CHARACTERISTIC(BT_UUID_TEMPERATURE,
			       BT_GATT_CHRC_READ | BT_GATT_CHRC_NOTIFY,
			       BT_GATT_PERM_READ,
			       read_u16, NULL, &sensor_2.temp_value),
	BT_GATT_DESCRIPTOR(BT_UUID_ES_MEASUREMENT, BT_GATT_PERM_READ,
			   read_es_measurement, NULL, &sensor_2.meas),
	BT_GATT_CUD(SENSOR_2_NAME, BT_GATT_PERM_READ),
	BT_GATT_DESCRIPTOR(BT_UUID_VALID_RANGE, BT_GATT_PERM_READ,
			   read_temp_valid_range, NULL, &sensor_2),
	BT_GATT_DESCRIPTOR(BT_UUID_ES_TRIGGER_SETTING,
			   BT_GATT_PERM_READ, read_temp_trigger_setting,
			   NULL, &sensor_2),
	BT_GATT_CCC(temp_ccc_cfg_changed,
		    BT_GATT_PERM_READ | BT_GATT_PERM_WRITE),

	/* Humidity Sensor */
	BT_GATT_CHARACTERISTIC(BT_UUID_HUMIDITY, BT_GATT_CHRC_READ,
			       BT_GATT_PERM_READ,
			       read_u16, NULL, &sensor_3.humid_value),
	BT_GATT_CUD(SENSOR_3_NAME, BT_GATT_PERM_READ),
	BT_GATT_DESCRIPTOR(BT_UUID_ES_MEASUREMENT, BT_GATT_PERM_READ,
			   read_es_measurement, NULL, &sensor_3.meas),
);

static void ess_simulate(void)
{
	static uint8_t i;
	uint16_t val;

	if (!(i % SENSOR_1_UPDATE_IVAL)) {
		val = 1200 + i;
		update_temperature(NULL, &ess_svc.attrs[2], val, &sensor_1);
	}

	if (!(i % SENSOR_2_UPDATE_IVAL)) {
		val = 1800 + i;
		update_temperature(NULL, &ess_svc.attrs[9], val, &sensor_2);
	}

	if (!(i % SENSOR_3_UPDATE_IVAL)) {
		sensor_3.humid_value = 6233 + (i % 13);
	}

	if (!(i % INT8_MAX)) {
		i = 0U;
	}

	i++;
}

static const struct bt_data ad[] = {
	BT_DATA_BYTES(BT_DATA_FLAGS, (BT_LE_AD_GENERAL | BT_LE_AD_NO_BREDR)),
	BT_DATA_BYTES(BT_DATA_GAP_APPEARANCE, 0x00, 0x03),
	BT_DATA_BYTES(BT_DATA_UUID16_ALL,
		      BT_UUID_16_ENCODE(BT_UUID_ESS_VAL),
		      BT_UUID_16_ENCODE(BT_UUID_BAS_VAL)),
};

static void connected(struct bt_conn *conn, uint8_t err)
{
	if (err) {
		printk("Connection failed (err 0x%02x)\n", err);
	} else {
		printk("Connected\n");
	}
}

static void disconnected(struct bt_conn *conn, uint8_t reason)
{
	printk("Disconnected (reason 0x%02x)\n", reason);
}

BT_CONN_CB_DEFINE(conn_callbacks) = {
	.connected = connected,
	.disconnected = disconnected,
};

static void bt_ready(void)
{
	int err;

	printk("Bluetooth initialized\n");

	err = bt_le_adv_start(BT_LE_ADV_CONN_NAME, ad, ARRAY_SIZE(ad), NULL, 0);
	if (err) {
		printk("Advertising failed to start (err %d)\n", err);
		return;
	}

	printk("Advertising successfully started\n");
}

static void auth_passkey_display(struct bt_conn *conn, unsigned int passkey)
{
	char addr[BT_ADDR_LE_STR_LEN];

	bt_addr_le_to_str(bt_conn_get_dst(conn), addr, sizeof(addr));

	printk("Passkey for %s: %06u\n", addr, passkey);
}

static void auth_cancel(struct bt_conn *conn)
{
	char addr[BT_ADDR_LE_STR_LEN];

	bt_addr_le_to_str(bt_conn_get_dst(conn), addr, sizeof(addr));

	printk("Pairing cancelled: %s\n", addr);
}

static struct bt_conn_auth_cb auth_cb_display = {
	.passkey_display = auth_passkey_display,
	.passkey_entry = NULL,
	.cancel = auth_cancel,
};

static void bas_notify(void)
{
	uint8_t battery_level = bt_bas_get_battery_level();

	battery_level--;

	if (!battery_level) {
		battery_level = 100U;
	}

	bt_bas_set_battery_level(battery_level);
}







static void mybt_init(void)
{
	int err;

	err = bt_enable(NULL);
	if (err) {
		printk("Bluetooth init failed (err %d)\n", err);
		return;
	}

	bt_ready();

	bt_conn_auth_cb_register(&auth_cb_display);
}



static void mybt_progress(void)
{

	/* Temperature simulation */
	if (simulate_temp) {
		ess_simulate();
	}

	/* Battery level simulation */
	bas_notify();

}
```

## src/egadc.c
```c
#include "egadc.h"

#include "MCP356X.h"

#include <zephyr/drivers/spi.h>
#include <zephyr/sys/util.h>
#include <zephyr/logging/log.h>


LOG_MODULE_REGISTER(adc_mcp356x, LOG_LEVEL_DBG);




static int my_transceive(const struct spi_dt_spec *bus, uint8_t *tx, uint8_t *rx, uint8_t reg, uint8_t len, uint8_t cmd)
{
	struct spi_buf buf_tx[] = {{.buf = tx,.len = len+1}};
	struct spi_buf buf_rx[] = {{.buf = rx,.len = len+1}};
	struct spi_buf_set tx_buf = {.buffers = buf_tx, .count = 1};
	struct spi_buf_set rx_buf = {.buffers = buf_rx, .count = 1};
	tx[0] = MCP356X_COMMAND_BYTE(MCP356X_DEVICE_ADR, reg, cmd);
	int err = 0;
	err = spi_transceive_dt(bus, &tx_buf, &rx_buf);
	if (err) {return err;}
	return 0;
}



static uint32_t get(const struct spi_dt_spec *bus, uint8_t reg)
{
	uint8_t len = MCP356X_get_len(reg);
	uint8_t tx[5] = {0};
	uint8_t rx[5] = {0};
	my_transceive(bus, tx, rx, reg, len, MCP356X_CMD_INC_READ);
	uint32_t v = MCP356X_get_value(rx, len);
	//printk("MCP356X_get_value: %2i : %02X : %02X %02X %02X %02X : %5i\n", len, rx[0], rx[1], rx[2], rx[3], rx[4], v);
	return v;
}

/*
In MUX mode, channel is defaulted to 0.

*/
static int get_data_11(const struct spi_dt_spec *bus, int32_t * value, uint32_t * channel)
{
	uint8_t reg = MCP356X_REG_ADC_DATA;
	uint8_t len = 4;
	uint8_t tx[5] = {0};
	uint8_t rx[5] = {0};
	my_transceive(bus, tx, rx, reg, len, MCP356X_CMD_INC_READ);
	MCP356X_ADC_DATA_decode_11(rx, value, channel);
	return 0;
}



#define MCP356X_LOG_SET_VALUE
static int set(const struct spi_dt_spec *bus, uint8_t reg, uint32_t value)
{
	uint8_t len = MCP356X_get_len(reg);
	uint8_t tx[5] = {0};
	uint8_t rx[5] = {0};
	MCP356X_set_value(tx, len, value);
	my_transceive(bus, tx, rx, reg, len, MCP356X_CMD_INC_WRITE);
#ifdef MCP356X_LOG_SET_VALUE
	uint32_t v = get(bus, reg);
	LOG_INF("Register set: %s: %08x %08x", MCP356X_REG_tostring(reg), value, v);
#endif
}




static void drdy_callback(const struct device *port, struct gpio_callback *cb, gpio_port_pins_t pins)
{
	struct mcp356x_config *config = CONTAINER_OF(cb, struct mcp356x_config, drdy_cb);
	config->num_irq++;
	k_sem_give(&config->drdy_sem);
	//struct mcp356x_data11 data;
	//mcp356x_data11_get(&config->bus, &data);
}





static void mcp356x_acquisition_thread(struct mcp356x_config * config)
{
	LOG_INF("mcp356x_acquisition_thread started!", 0);
	while (true)
	{
		int err = 0;
		//k_sem_take(&config->acq_sem, K_FOREVER);
		k_sem_take(&config->drdy_sem, K_SECONDS(12));
		int32_t value = 0;
		uint32_t channel = 0;
		err = get_data_11(&config->bus, &value, &channel);
		if (err)
		{
			printk("mcp356x_acquisition_thread error: %i\n", err);
			continue;
		}
		if (channel < MCP356X_CHANNEL_COUNT)
		{
			config->n[channel]++;
			config->mv[channel] = MCP356X_raw_to_millivolt(value, config->vref, config->gain);
			config->sum[channel] += config->mv[channel];
		}

		// After 1000 samples then calculate average:
		if(config->n[channel] > 1000)
		{
			config->avg[channel] = config->sum[channel] / config->n[channel];
			config->n[channel] = 0;
			config->sum[channel] = 0;
		}
		config->num_drdy++;
	}
}





int egadc_init(struct mcp356x_config * config)
{
	LOG_INF("Init ADC MCP356X", 0);



	set(&config->bus, MCP356X_REG_CFG_0,
	MCP356X_CFG_0_VREF_SEL_0 |
	MCP356X_CFG_0_CLK_SEL_2 |
	MCP356X_CFG_0_CS_SEL_0 |
	MCP356X_CFG_0_MODE_CONV
	);
	set(&config->bus, MCP356X_REG_CFG_1,
	MCP356X_CFG_1_PRE_1 |
	MCP356X_CFG_1_OSR_32 |
	MCP356X_CFG_1_DITHER_DEF
	);
	set(&config->bus, MCP356X_REG_CFG_2,
	MCP356X_CFG_2_BOOST_X_1 |
	//MCP356X_CFG_2_GAIN_X_1 |
	config->gain |
	MCP356X_CFG_2_AZ_MUX_DIS |
	//MCP356X_CFG_2_AZ_VREF_EN |
	//MCP356X_CFG_2_AZ_FREQ_HIGH |
	0
	);
	set(&config->bus, MCP356X_REG_CFG_3,
	MCP356X_CFG_3_CONV_MODE_CONT |
	//MCP356X_CFG_3_DATA_FORMAT_DEF |
	MCP356X_CFG_3_DATA_FORMAT_CH_ADC |
	MCP356X_CFG_3_CRC_FORMAT_16 |
	MCP356X_CFG_3_CRC_COM_DIS |
	MCP356X_CFG_3_CRC_OFF_CAL_EN |
	MCP356X_CFG_3_CRC_GAIN_CAL_EN
	);
	set(&config->bus, MCP356X_REG_MUX,
	//MCP356X_MUX_VIN_POS_CH0 | 
	//MCP356X_MUX_VIN_POS_CH1 | 
	//MCP356X_MUX_VIN_POS_CH2 | 
	//MCP356X_MUX_VIN_POS_CH3 | 
	//MCP356X_MUX_VIN_POS_TEMP |
	//MCP356X_MUX_VIN_POS_AVDD | 
	MCP356X_MUX_VIN_POS_VREF_EXT_PLUS|
	//MCP356X_MUX_VIN_NEG_CH1 |
	//MCP356X_MUX_VIN_POS_CH0 | 
	MCP356X_MUX_VIN_NEG_AGND |
	0);
	set(&config->bus, MCP356X_REG_SCAN, 0);
	/*
	set24_verbose(&config->bus, MCP356X_REG_SCAN, 
	MCP356X_SCAN_CH0|
	MCP356X_SCAN_CH1|
	MCP356X_SCAN_CH2|
	MCP356X_SCAN_CH3|
	MCP356X_SCAN_CH4|
	MCP356X_SCAN_CH5|
	MCP356X_SCAN_CH6|
	MCP356X_SCAN_CH7|
	MCP356X_SCAN_VREF|
	MCP356X_SCAN_TEMP|
	MCP356X_SCAN_AVDD|
	MCP356X_SCAN_OFFSET|
	0);
	*/
	//set24_verbose(bus, MCP356X_REG_SCAN, MCP356X_SCAN_CH0);
	//set24_verbose(bus, MCP356X_REG_SCAN, MCP356X_SCAN_CH3);
	
	set(&config->bus, MCP356X_REG_IRQ, MCP356X_IRQ_MODE_LOGIC_HIGH);
	set(&config->bus, MCP356X_REG_OFFSET_CAL, 0);
	set(&config->bus, MCP356X_REG_GAIN_CAL, 0x00800000);
	//set24_verbose(MCP356X_RSV_REG_W_A, 0x00900F00);
	set(&config->bus, MCP356X_RSV_REG_W_A, 0x00900000);



	LOG_INF("Configuring port %s %i",config->irq.port->name, config->irq.pin);
	int err;
	err = gpio_pin_configure_dt(&config->irq, GPIO_INPUT);
	if (err) {return err;}
	err = gpio_pin_interrupt_configure_dt(&config->irq, GPIO_INT_EDGE_TO_ACTIVE);
	if (err) {return err;}
	gpio_init_callback(&config->drdy_cb, drdy_callback, BIT(config->irq.pin));
	err = gpio_add_callback(config->irq.port, &config->drdy_cb);
	if (err) {return err;}

	k_sem_init(&config->acq_sem, 0, 1);
	k_sem_init(&config->drdy_sem, 0, 1);

	k_thread_create(&config->thread, config->stack,
			ADC_MCP356X_ACQUISITION_THREAD_STACK_SIZE,
			(k_thread_entry_t)mcp356x_acquisition_thread,
			(void *)config, NULL, NULL,
			K_PRIO_COOP(ADC_MCP356X_ACQUISITION_THREAD_PRIO),
			//0,
			0, K_NO_WAIT);
	/* Add instance number to thread name? */
	k_thread_name_set(&config->thread, "mcp356x");


}
```
